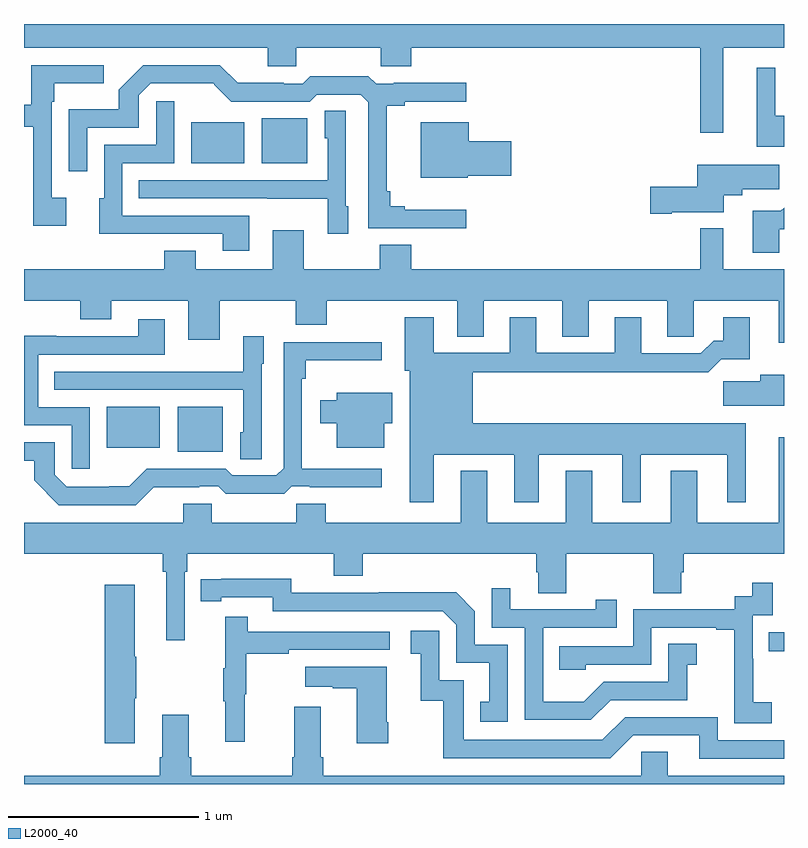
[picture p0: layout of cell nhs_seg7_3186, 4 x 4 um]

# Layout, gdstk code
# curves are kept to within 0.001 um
import gdstk
lib = gdstk.Library(unit=1e-6, precision=1e-09)
def R(c, l, rs):  # rectangles x0, y0, x1, y1
    for r in rs: c.add(gdstk.rectangle(r[:2], r[2:], *l))
def P(c, l, *ps):  # polygons
    for p in ps: c.add(gdstk.Polygon(p, *l))
L2000_40 = (2000, 40)

nhs_seg7_3186 = lib.new_cell('nhs_seg7_3186')
R(nhs_seg7_3186, L2000_40, [(316.921,1070.698,317,1070.799), (313.808,1071.749,314.047,1071.985), (313.436,1071.77,313.714,1071.985), (313.88,1073.267,314.158,1073.482), (314.252,1073.267,314.491,1073.503)])
P(nhs_seg7_3186, L2000_40, [(316.681,1073.876),(317,1073.876),(317,1074),(313,1074),(313,1073.876),(314.282,1073.876),(314.282,1073.778),(314.433,1073.778),(314.433,1073.876),(314.878,1073.876),(314.878,1073.778),(315.038,1073.778),(315.038,1073.876),(316.56,1073.876),(316.56,1073.427),(316.681,1073.427)],
  [(315.328,1073.023),(315.004,1073.023),(315.004,1073.042),(314.927,1073.042),(314.927,1073.119),(314.909,1073.119),(314.909,1073.57),(315.004,1073.57),(315.004,1073.592),(315.328,1073.592),(315.328,1073.69),(314.947,1073.69),(314.947,1073.685),(314.853,1073.685),(314.813,1073.725),(314.506,1073.725),(314.466,1073.685),(314.366,1073.685),(314.366,1073.69),(314.126,1073.69),(314.031,1073.784),(313.628,1073.784),(313.498,1073.654),(313.498,1073.551),(313.236,1073.551),(313.236,1073.226),(313.332,1073.226),(313.332,1073.454),(313.605,1073.454),(313.605,1073.625),(313.668,1073.688),(313.997,1073.687),(314.091,1073.592),(314.505,1073.592),(314.541,1073.628),(314.772,1073.628),(314.811,1073.589),(314.811,1072.926),(315.328,1072.926)],
  [(313.222,1073.086),(313.146,1073.086),(313.146,1073.591),(313.159,1073.591),(313.159,1073.687),(313.42,1073.687),(313.42,1073.784),(313.038,1073.784),(313.038,1073.576),(313,1073.576),(313,1073.46),(313.049,1073.46),(313.049,1072.938),(313.222,1072.938)],
  [(317,1073.518),(316.954,1073.518),(316.954,1073.77),(316.856,1073.77),(316.856,1073.354),(317,1073.354)],
  [(314.185,1072.992),(313.518,1072.992),(313.518,1073.268),(313.791,1073.268),(313.791,1073.593),(313.695,1073.593),(313.695,1073.364),(313.422,1073.364),(313.422,1073.082),(313.397,1073.082),(313.397,1072.895),(313.615,1072.895),(313.615,1072.896),(314.045,1072.896),(314.045,1072.806),(314.185,1072.806)],
  [(314.707,1073.04),(314.694,1073.04),(314.694,1073.543),(314.582,1073.543),(314.582,1073.4),(314.598,1073.4),(314.598,1073.178),(313.603,1073.178),(313.603,1073.082),(314.281,1073.082),(314.281,1073.081),(314.598,1073.081),(314.598,1072.896),(314.707,1072.896)],
  [(315.336,1073.201),(315.565,1073.201),(315.565,1073.384),(315.34,1073.384),(315.34,1073.482),(315.089,1073.482),(315.089,1073.192),(315.336,1073.192)],
  [(316.408,1073.009),(316.684,1073.009),(316.684,1073.099),(316.78,1073.099),(316.78,1073.131),(316.975,1073.131),(316.975,1073.26),(316.544,1073.26),(316.544,1073.144),(316.296,1073.144),(316.296,1073.002),(316.408,1073.002)],
  [(316.975,1072.919),(317,1072.919),(317,1073.033),(316.984,1073.017),(316.835,1073.017),(316.835,1072.797),(316.975,1072.797)],
  [(317,1072.708),(316.681,1072.708),(316.681,1072.924),(316.56,1072.924),(316.56,1072.708),(315.037,1072.708),(315.037,1072.837),(314.873,1072.837),(314.873,1072.708),(314.473,1072.708),(314.473,1072.915),(314.309,1072.915),(314.309,1072.708),(313.903,1072.708),(313.903,1072.807),(313.739,1072.807),(313.739,1072.708),(313,1072.708),(313,1072.544),(313.295,1072.544),(313.295,1072.445),(313.459,1072.445),(313.459,1072.544),(313.865,1072.544),(313.865,1072.338),(314.029,1072.338),(314.029,1072.544),(314.429,1072.544),(314.429,1072.416),(314.593,1072.416),(314.593,1072.544),(315.281,1072.544),(315.281,1072.354),(315.421,1072.354),(315.421,1072.544),(315.833,1072.544),(315.833,1072.354),(315.973,1072.354),(315.973,1072.544),(316.385,1072.544),(316.385,1072.354),(316.524,1072.354),(316.524,1072.544),(316.973,1072.544),(316.973,1072.323),(317,1072.323)],
  [(315.157,1071.734),(315.581,1071.734),(315.581,1071.483),(315.709,1071.483),(315.709,1071.734),(316.148,1071.734),(316.148,1071.483),(316.246,1071.483),(316.246,1071.734),(316.7,1071.734),(316.7,1071.483),(316.798,1071.483),(316.798,1071.898),(315.361,1071.898),(315.361,1072.168),(316.345,1072.168),(316.345,1072.166),(316.601,1072.166),(316.67,1072.235),(316.819,1072.235),(316.819,1072.456),(316.679,1072.456),(316.679,1072.333),(316.63,1072.333),(316.563,1072.266),(316.249,1072.266),(316.249,1072.456),(316.109,1072.456),(316.109,1072.269),(315.697,1072.269),(315.697,1072.456),(315.557,1072.456),(315.557,1072.269),(315.157,1072.269),(315.157,1072.456),(315.005,1072.456),(315.005,1072.176),(315.029,1072.176),(315.029,1071.483),(315.157,1071.483)],
  [(313.347,1071.984),(313.074,1071.984),(313.074,1072.26),(313.741,1072.26),(313.741,1072.447),(313.601,1072.447),(313.601,1072.356),(313.171,1072.356),(313.171,1072.358),(313,1072.358),(313,1071.888),(313.251,1071.888),(313.251,1071.66),(313.347,1071.66)],
  [(314.25,1072.212),(314.263,1072.212),(314.263,1072.357),(314.154,1072.357),(314.154,1072.171),(313.837,1072.171),(313.837,1072.17),(313.159,1072.17),(313.159,1072.074),(314.154,1072.074),(314.154,1071.852),(314.138,1071.852),(314.138,1071.709),(314.25,1071.709)],
  [(313.682,1071.563),(313.922,1071.563),(313.922,1071.567),(314.022,1071.567),(314.062,1071.528),(314.369,1071.528),(314.409,1071.567),(314.503,1071.567),(314.503,1071.563),(314.884,1071.563),(314.884,1071.66),(314.463,1071.66),(314.463,1072.133),(314.483,1072.133),(314.483,1072.229),(314.884,1072.229),(314.884,1072.326),(314.367,1072.326),(314.367,1071.663),(314.328,1071.624),(314.097,1071.624),(314.061,1071.66),(313.647,1071.66),(313.553,1071.566),(313.448,1071.566),(313.448,1071.564),(313.224,1071.564),(313.161,1071.627),(313.161,1071.798),(313,1071.798),(313,1071.701),(313.054,1071.701),(313.054,1071.599),(313.184,1071.468),(313.587,1071.468)],
  [(317,1072.153),(316.874,1072.153),(316.874,1072.121),(316.68,1072.121),(316.68,1071.992),(317,1071.992)],
  [(314.896,1071.899),(314.938,1071.899),(314.938,1072.06),(314.645,1072.06),(314.645,1072.021),(314.558,1072.021),(314.558,1071.899),(314.645,1071.899),(314.645,1071.77),(314.896,1071.77)],
  [(313.845,1071.116),(313.859,1071.116),(313.859,1071.212),(314.63,1071.212),(314.63,1071.095),(314.783,1071.095),(314.783,1071.212),(315.695,1071.212),(315.695,1071.114),(315.707,1071.114),(315.707,1071.004),(315.855,1071.004),(315.855,1071.212),(316.312,1071.212),(316.312,1071.004),(316.459,1071.004),(316.459,1071.114),(316.472,1071.114),(316.472,1071.212),(317,1071.212),(317,1071.826),(316.973,1071.826),(316.973,1071.376),(316.543,1071.376),(316.543,1071.649),(316.403,1071.649),(316.403,1071.376),(315.991,1071.376),(315.991,1071.649),(315.851,1071.649),(315.851,1071.376),(315.439,1071.376),(315.439,1071.649),(315.299,1071.649),(315.299,1071.376),(314.589,1071.376),(314.589,1071.474),(314.434,1071.474),(314.434,1071.376),(313.989,1071.376),(313.989,1071.474),(313.838,1071.474),(313.838,1071.376),(313,1071.376),(313,1071.212),(313.729,1071.212),(313.729,1071.116),(313.748,1071.116),(313.748,1070.757),(313.845,1070.757)],
  [(315.546,1070.733),(315.372,1070.733),(315.372,1070.91),(315.274,1071.008),(314.866,1071.008),(314.866,1071.006),(314.406,1071.006),(314.406,1071.079),(313.93,1071.078),(313.93,1070.962),(314.038,1070.962),(314.038,1070.982),(314.31,1070.982),(314.31,1070.91),(315.204,1070.91),(315.276,1070.838),(315.276,1070.637),(315.449,1070.637),(315.449,1070.433),(315.4,1070.433),(315.4,1070.328),(315.546,1070.328)],
  [(316.936,1070.431),(316.838,1070.431),(316.838,1070.66),(316.836,1070.66),(316.836,1070.889),(316.941,1070.889),(316.941,1071.058),(316.833,1071.058),(316.833,1070.988),(316.74,1070.988),(316.74,1070.919),(316.206,1070.919),(316.206,1070.724),(315.817,1070.724),(315.817,1070.601),(315.957,1070.601),(315.957,1070.628),(316.302,1070.628),(316.302,1070.823),(316.643,1070.823),(316.643,1070.811),(316.739,1070.811),(316.739,1070.527),(316.738,1070.527),(316.738,1070.321),(316.936,1070.321)],
  [(313.582,1070.452),(313.59,1070.452),(313.59,1070.669),(313.582,1070.669),(313.582,1071.049),(313.424,1071.049),(313.424,1070.214),(313.582,1070.214)],
  [(316.087,1070.442),(316.491,1070.442),(316.491,1070.627),(316.54,1070.627),(316.54,1070.737),(316.392,1070.737),(316.392,1070.538),(316.05,1070.538),(315.946,1070.434),(315.732,1070.434),(315.732,1070.823),(316.121,1070.823),(316.121,1070.971),(316.01,1070.971),(316.01,1070.919),(315.559,1070.919),(315.559,1071.031),(315.462,1071.031),(315.462,1070.823),(315.636,1070.823),(315.636,1070.337),(315.982,1070.337)],
  [(314.162,1070.472),(314.17,1070.472),(314.17,1070.686),(314.393,1070.686),(314.393,1070.706),(314.926,1070.706),(314.926,1070.802),(314.177,1070.802),(314.177,1070.881),(314.06,1070.881),(314.06,1070.609),(314.049,1070.609),(314.049,1070.435),(314.06,1070.435),(314.06,1070.223),(314.162,1070.223)],
  [(317,1070.229),(316.65,1070.229),(316.65,1070.352),(316.164,1070.352),(316.044,1070.232),(315.315,1070.232),(315.315,1070.547),(315.186,1070.547),(315.186,1070.806),(315.036,1070.806),(315.036,1070.685),(315.089,1070.685),(315.089,1070.439),(315.207,1070.439),(315.207,1070.136),(316.086,1070.136),(316.206,1070.256),(316.553,1070.256),(316.553,1070.133),(317,1070.133)],
  [(314.916,1070.326),(314.908,1070.326),(314.908,1070.617),(314.481,1070.617),(314.481,1070.513),(314.624,1070.513),(314.624,1070.503),(314.75,1070.503),(314.75,1070.214),(314.916,1070.214)],
  [(317,1070.044),(316.387,1070.044),(316.387,1070.171),(316.248,1070.171),(316.248,1070.044),(314.576,1070.044),(314.576,1070.14),(314.563,1070.14),(314.563,1070.407),(314.423,1070.407),(314.423,1070.14),(314.411,1070.14),(314.411,1070.044),(313.88,1070.044),(313.88,1070.14),(313.867,1070.14),(313.867,1070.365),(313.727,1070.365),(313.727,1070.14),(313.715,1070.14),(313.715,1070.044),(313,1070.044),(313,1070),(317,1070)])

lib.write_gds('nhs_seg7_3186.gds')
